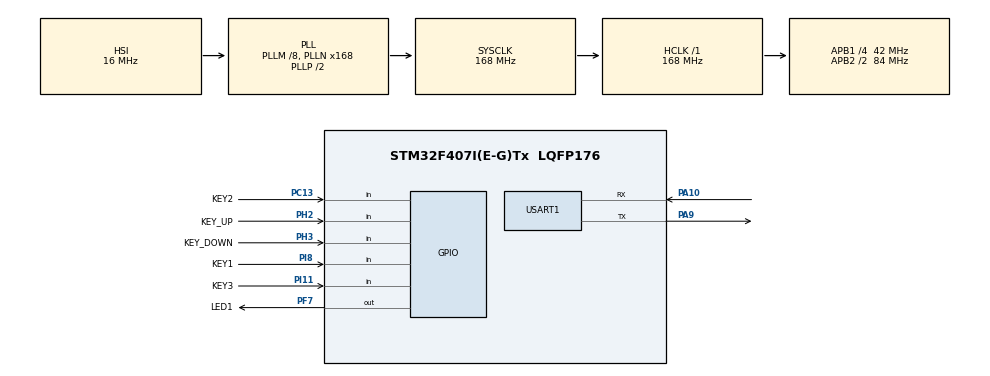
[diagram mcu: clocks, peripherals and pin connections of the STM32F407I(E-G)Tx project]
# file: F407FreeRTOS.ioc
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Dma.Request0=USART1_RX
Dma.Request1=USART1_TX
Dma.USART1_RX.0.Direction=DMA_PERIPH_TO_MEMORY
Dma.USART1_RX.0.FIFOMode=DMA_FIFOMODE_DISABLE
Dma.USART1_RX.0.Instance=DMA2_Stream2
Dma.USART1_RX.0.MemDataAlignment=DMA_MDATAALIGN_BYTE
Dma.USART1_RX.0.MemInc=DMA_MINC_ENABLE
Dma.USART1_RX.0.Mode=DMA_NORMAL
Dma.USART1_RX.0.PeriphDataAlignment=DMA_PDATAALIGN_BYTE
Dma.USART1_RX.0.PeriphInc=DMA_PINC_DISABLE
Dma.USART1_RX.0.Priority=DMA_PRIORITY_LOW
Dma.USART1_TX.1.Direction=DMA_MEMORY_TO_PERIPH
Dma.USART1_TX.1.FIFOMode=DMA_FIFOMODE_DISABLE
Dma.USART1_TX.1.Instance=DMA2_Stream7
Dma.USART1_TX.1.MemDataAlignment=DMA_MDATAALIGN_BYTE
Dma.USART1_TX.1.MemInc=DMA_MINC_ENABLE
Dma.USART1_TX.1.Mode=DMA_NORMAL
Dma.USART1_TX.1.PeriphDataAlignment=DMA_PDATAALIGN_BYTE
Dma.USART1_TX.1.PeriphInc=DMA_PINC_DISABLE
Dma.USART1_TX.1.Priority=DMA_PRIORITY_LOW
FREERTOS.INCLUDE_vTaskDelayUntil=1
FREERTOS.Queues01=CmdQueue,20,uint8_t,0,Dynamic,NULL,NULL
FREERTOS.Tasks01=LED,-1,128,StartTaskLED,Default,NULL,Dynamic,NULL,NULL;MsgPro,-2,128,StartMsgProTask,Default,NULL,Dynamic,NULL,NULL;UserIF,0,128,StartTaskUserIF,Default,NULL,Dynamic,NULL,NULL;Start,1,128,StartTaskStart,Default,NULL,Dynamic,NULL,NULL
FREERTOS.configGENERATE_RUN_TIME_STATS=1
FREERTOS.configUSE_STATS_FORMATTING_FUNCTIONS=1
FREERTOS.configUSE_TIMERS=1
Mcu.Family=STM32F4
Mcu.Name=STM32F407I(E-G)Tx
Mcu.Package=LQFP176
NVIC.DMA2_Stream2_IRQn=true\:1\:0\:true\:false\:true\:false\:false\:true
NVIC.DMA2_Stream7_IRQn=true\:2\:0\:true\:false\:true\:false\:false\:true
NVIC.PriorityGroup=NVIC_PRIORITYGROUP_4
NVIC.TIM1_UP_TIM10_IRQn=true\:0\:0\:false\:false\:true\:false\:false\:true
NVIC.TIM6_DAC_IRQn=true\:5\:0\:false\:false\:true\:true\:true\:true
NVIC.TimeBase=TIM1_UP_TIM10_IRQn
NVIC.TimeBaseIP=TIM1
NVIC.USART1_IRQn=true\:6\:0\:true\:false\:true\:true\:true\:true
PA10.Mode=Asynchronous
PA10.Signal=USART1_RX
PA13.Mode=Serial_Wire
PA13.Signal=SYS_JTMS-SWDIO
PA14.Mode=Serial_Wire
PA14.Signal=SYS_JTCK-SWCLK
PA9.Mode=Asynchronous
PA9.Signal=USART1_TX
PC13-ANTI_TAMP.GPIO_Label=KEY2
PC13-ANTI_TAMP.GPIO_PuPd=GPIO_PULLUP
PC13-ANTI_TAMP.Signal=GPIO_Input
PC14-OSC32_IN.Mode=LSE-External-Oscillator
PC14-OSC32_IN.Signal=RCC_OSC32_IN
PC15-OSC32_OUT.Mode=LSE-External-Oscillator
PC15-OSC32_OUT.Signal=RCC_OSC32_OUT
PF7.GPIO_Label=LED1
PF7.PinState=GPIO_PIN_SET
PF7.Signal=GPIO_Output
PH0-OSC_IN.Mode=HSE-External-Oscillator
PH0-OSC_IN.Signal=RCC_OSC_IN
PH1-OSC_OUT.Mode=HSE-External-Oscillator
PH1-OSC_OUT.Signal=RCC_OSC_OUT
PH2.GPIO_Label=KEY_UP
PH2.GPIO_PuPd=GPIO_PULLUP
PH2.Signal=GPIO_Input
PH3.GPIO_Label=KEY_DOWN
PH3.GPIO_PuPd=GPIO_PULLUP
PH3.Signal=GPIO_Input
PI11.GPIO_Label=KEY3
PI11.GPIO_PuPd=GPIO_PULLUP
PI11.Signal=GPIO_Input
PI8-\ ANTI\ TAMP2.GPIO_Label=KEY1
PI8-\ ANTI\ TAMP2.GPIO_PuPd=GPIO_PULLUP
PI8-\ ANTI\ TAMP2.Signal=GPIO_Input
ProjectManager.HeapSize=0x200
ProjectManager.StackSize=0x400
ProjectManager.TargetToolchain=MDK-ARM V5.27
RCC.48MHZClocksFreq_Value=84000000
RCC.AHBFreq_Value=168000000
RCC.APB1CLKDivider=RCC_HCLK_DIV4
RCC.APB1Freq_Value=42000000
RCC.APB1TimFreq_Value=84000000
RCC.APB2CLKDivider=RCC_HCLK_DIV2
RCC.APB2Freq_Value=84000000
RCC.APB2TimFreq_Value=168000000
RCC.CortexFreq_Value=168000000
RCC.HCLKFreq_Value=168000000
RCC.HSE_VALUE=25000000
RCC.HSI_VALUE=16000000
RCC.PLLM=8
RCC.PLLN=168
RCC.RCC_RTC_Clock_Source=RCC_RTCCLKSOURCE_LSE
RCC.RCC_RTC_Clock_SourceVirtual=RCC_RTCCLKSOURCE_LSE
RCC.SYSCLKFreq_VALUE=168000000
RCC.SYSCLKSource=RCC_SYSCLKSOURCE_PLLCLK
RCC.VCOOutputFreq_Value=336000000
TIM6.Period=99
TIM6.Prescaler=71
USART1.VirtualMode=VM_ASYNC
VP_FREERTOS_VS_CMSIS_V1.Mode=CMSIS_V1
VP_RTC_VS_RTC_Activate.Mode=RTC_Enabled
VP_RTC_VS_RTC_Calendar.Mode=RTC_Calendar
VP_SYS_VS_tim1.Mode=TIM1
VP_TIM6_VS_ClockSourceINT.Mode=Enable_Timer
board=custom

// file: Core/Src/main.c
/* USER CODE BEGIN Header */
/**
  ******************************************************************************
  * @file           : main.c
  * @brief          : Main program body
  ******************************************************************************
  * @attention
  *
  * <h2><center>&copy; Copyright (c) 2021 STMicroelectronics.
  * All rights reserved.</center></h2>
  *
  * This software component is licensed by ST under Ultimate Liberty license
  * SLA0044, the "License"; You may not use this file except in compliance with
  * the License. You may obtain a copy of the License at:
  *                             www.st.com/SLA0044
  *
  ******************************************************************************
  */
/* USER CODE END Header */
#include "main.h"
#include "cmsis_os.h"
#include "dma.h"
#include "rtc.h"
#include "tim.h"
#include "usart.h"
#include "gpio.h"

/* USER CODE BEGIN Includes */
#include "key.h"
/* USER CODE END Includes */

/* USER CODE BEGIN PTD */
uint32_t g_osRuntimeCounter = 0;
extern osMessageQId CmdQueueHandle;
/* USER CODE END PTD */

void SystemClock_Config(void);
void MX_FREERTOS_Init(void);

int main(void)
{

  /* MCU Configuration--------------------------------------------------------*/

  /* Reset of all peripherals, Initializes the Flash interface and the Systick. */
  HAL_Init();

  /* Configure the system clock */
  SystemClock_Config();

  /* Initialize all configured peripherals */
  MX_GPIO_Init();
	MX_DMA_Init();
  MX_USART1_UART_Init();

  MX_TIM6_Init();
  MX_RTC_Init();
  /* USER CODE BEGIN 2 */
  HAL_TIM_Base_Start_IT(&htim6);
  bsp_InitKeyVar();
  /* USER CODE END 2 */

  /* Call init function for freertos objects (in freertos.c) */
  MX_FREERTOS_Init();
  /* Start scheduler */
  osKernelStart();

  /* We should never get here as control is now taken by the scheduler */
  /* Infinite loop */
  while (1)
  {

  }
}

void SystemClock_Config(void)
{
  RCC_OscInitTypeDef RCC_OscInitStruct = {0};
  RCC_ClkInitTypeDef RCC_ClkInitStruct = {0};

  /** Configure the main internal regulator output voltage
  */
  __HAL_RCC_PWR_CLK_ENABLE();
  __HAL_PWR_VOLTAGESCALING_CONFIG(PWR_REGULATOR_VOLTAGE_SCALE1);
  /** Initializes the RCC Oscillators according to the specified parameters
  * in the RCC_OscInitTypeDef structure.
  */
  RCC_OscInitStruct.OscillatorType = RCC_OSCILLATORTYPE_HSI|RCC_OSCILLATORTYPE_LSE;
  RCC_OscInitStruct.LSEState = RCC_LSE_ON;
  RCC_OscInitStruct.HSIState = RCC_HSI_ON;
  RCC_OscInitStruct.HSICalibrationValue = RCC_HSICALIBRATION_DEFAULT;
  RCC_OscInitStruct.PLL.PLLState = RCC_PLL_ON;
  RCC_OscInitStruct.PLL.PLLSource = RCC_PLLSOURCE_HSI;
  RCC_OscInitStruct.PLL.PLLM = 8;
  RCC_OscInitStruct.PLL.PLLN = 168;
  RCC_OscInitStruct.PLL.PLLP = RCC_PLLP_DIV2;
  RCC_OscInitStruct.PLL.PLLQ = 4;
  if (HAL_RCC_OscConfig(&RCC_OscInitStruct) != HAL_OK)
  {
    Error_Handler();
  }
  /** Initializes the CPU, AHB and APB buses clocks
  */
  RCC_ClkInitStruct.ClockType = RCC_CLOCKTYPE_HCLK|RCC_CLOCKTYPE_SYSCLK
                              |RCC_CLOCKTYPE_PCLK1|RCC_CLOCKTYPE_PCLK2;
  RCC_ClkInitStruct.SYSCLKSource = RCC_SYSCLKSOURCE_PLLCLK;
  RCC_ClkInitStruct.AHBCLKDivider = RCC_SYSCLK_DIV1;
  RCC_ClkInitStruct.APB1CLKDivider = RCC_HCLK_DIV4;
  RCC_ClkInitStruct.APB2CLKDivider = RCC_HCLK_DIV2;

  if (HAL_RCC_ClockConfig(&RCC_ClkInitStruct, FLASH_LATENCY_5) != HAL_OK)
  {
    Error_Handler();
  }
}

void HAL_TIM_PeriodElapsedCallback(TIM_HandleTypeDef *htim)
{
  if (htim->Instance == TIM1) {
    HAL_IncTick();
  }
  /* USER CODE BEGIN Callback 1 */
  if (htim->Instance == TIM6)
  {
    g_osRuntimeCounter++;
  }
  /* USER CODE END Callback 1 */
}

void Error_Handler(void)
{
  __disable_irq();
  while (1)
  {
  }
}

/************************ (C) COPYRIGHT STMicroelectronics *****END OF FILE****/

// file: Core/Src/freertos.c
/* USER CODE BEGIN Header */
/**
 ******************************************************************************
 * File Name          : freertos.c
 * Description        : Code for freertos applications
 ******************************************************************************
 * @attention
 *
 * <h2><center>&copy; Copyright (c) 2021 STMicroelectronics.
 * All rights reserved.</center></h2>
 *
 * This software component is licensed by ST under Ultimate Liberty license
 * SLA0044, the "License"; You may not use this file except in compliance with
 * the License. You may obtain a copy of the License at:
 *                             www.st.com/SLA0044
 *
 ******************************************************************************
 */
/* USER CODE END Header */

#include "FreeRTOS.h"
#include "task.h"
#include "main.h"
#include "cmsis_os.h"

/* USER CODE BEGIN Includes */
#include "UART.h"
#include "key.h"
/* USER CODE END Includes */

/* USER CODE BEGIN PD */
#define BIT_0 (1 << 0)
#define BIT_1 (1 << 1)
#define BIT_ALL (BIT_0 | BIT_1)
/* USER CODE END PD */

/* USER CODE BEGIN Variables */
extern uint32_t g_osRuntimeCounter;
EventGroupHandle_t xCreatedEventGroup = NULL;
/* USER CODE END Variables */
osThreadId LEDHandle;
osThreadId MsgProHandle;
osThreadId UserIFHandle;
osThreadId StartHandle;
osMessageQId CmdQueueHandle;
/* USER CODE BEGIN FunctionPrototypes */
static void AppObjCreate(void);
/* USER CODE END FunctionPrototypes */

void StartTaskLED(void const * argument);
void StartMsgProTask(void const * argument);
void StartTaskUserIF(void const * argument);
void StartTaskStart(void const * argument);

void MX_FREERTOS_Init(void); /* (MISRA C 2004 rule 8.1) */

/* GetIdleTaskMemory prototype (linked to static allocation support) */
void vApplicationGetIdleTaskMemory( StaticTask_t **ppxIdleTaskTCBBuffer, StackType_t **ppxIdleTaskStackBuffer, uint32_t *pulIdleTaskStackSize );

/* GetTimerTaskMemory prototype (linked to static allocation support) */
void vApplicationGetTimerTaskMemory( StaticTask_t **ppxTimerTaskTCBBuffer, StackType_t **ppxTimerTaskStackBuffer, uint32_t *pulTimerTaskStackSize );

/* Hook prototypes */
void configureTimerForRunTimeStats(void);
unsigned long getRunTimeCounterValue(void);

/* USER CODE BEGIN 1 */
/* Functions needed when configGENERATE_RUN_TIME_STATS is on */
__weak void configureTimerForRunTimeStats(void)
{
  g_osRuntimeCounter = 0;
}

__weak unsigned long getRunTimeCounterValue(void)
{
  return g_osRuntimeCounter;
}
/* USER CODE END 1 */
/* USER CODE BEGIN GET_IDLE_TASK_MEMORY */
static StaticTask_t xIdleTaskTCBBuffer;
static StackType_t xIdleStack[configMINIMAL_STACK_SIZE];

void vApplicationGetIdleTaskMemory(StaticTask_t **ppxIdleTaskTCBBuffer, StackType_t **ppxIdleTaskStackBuffer, uint32_t *pulIdleTaskStackSize)
{
  *ppxIdleTaskTCBBuffer = &xIdleTaskTCBBuffer;
  *ppxIdleTaskStackBuffer = &xIdleStack[0];
  *pulIdleTaskStackSize = configMINIMAL_STACK_SIZE;
  /* place for user code */
}
/* USER CODE END GET_IDLE_TASK_MEMORY */

/* USER CODE BEGIN GET_TIMER_TASK_MEMORY */
static StaticTask_t xTimerTaskTCBBuffer;
static StackType_t xTimerStack[configTIMER_TASK_STACK_DEPTH];

void vApplicationGetTimerTaskMemory(StaticTask_t **ppxTimerTaskTCBBuffer, StackType_t **ppxTimerTaskStackBuffer, uint32_t *pulTimerTaskStackSize)
{
  *ppxTimerTaskTCBBuffer = &xTimerTaskTCBBuffer;
  *ppxTimerTaskStackBuffer = &xTimerStack[0];
  *pulTimerTaskStackSize = configTIMER_TASK_STACK_DEPTH;
  /* place for user code */
}
/* USER CODE END GET_TIMER_TASK_MEMORY */

void MX_FREERTOS_Init(void) {
  /* USER CODE BEGIN Init */
  AppObjCreate();
  /* USER CODE END Init */

  /* Create the queue(s) */
  /* definition and creation of CmdQueue */
  osMessageQDef(CmdQueue, 20, uint8_t);
  CmdQueueHandle = osMessageCreate(osMessageQ(CmdQueue), NULL);

  /* Create the thread(s) */
  /* definition and creation of LED */
  osThreadDef(LED, StartTaskLED, osPriorityBelowNormal, 0, 128);
  LEDHandle = osThreadCreate(osThread(LED), NULL);

  /* definition and creation of MsgPro */
  osThreadDef(MsgPro, StartMsgProTask, osPriorityLow, 0, 128);
  MsgProHandle = osThreadCreate(osThread(MsgPro), NULL);

  /* definition and creation of UserIF */
  osThreadDef(UserIF, StartTaskUserIF, osPriorityNormal, 0, 128);
  UserIFHandle = osThreadCreate(osThread(UserIF), NULL);

  /* definition and creation of Start */
  osThreadDef(Start, StartTaskStart, osPriorityAboveNormal, 0, 128);
  StartHandle = osThreadCreate(osThread(Start), NULL);

}

void StartTaskLED(void const * argument)
{
  /* USER CODE BEGIN StartTaskLED */
  RTCDateTime mRTCDateTime;
  /*   uint8_t uResult = pdFALSE;
    uint8_t uQueueMessage = 0; */
  // TickType_t xLastWakeTime;
  // const TickType_t xFrequency = 200;
  /* 获取当前的系统时间*/
  // xLastWakeTime = xTaskGetTickCount();
  /* Infinite loop */
  for (;;)
  {
    /* 进入临界区*/
    // taskENTER_CRITICAL();
    // vTaskSuspendAll();
    // printf("任务 vTaskLED 正在运行\r\n");
    /* 退出临界区*/
    // taskEXIT_CRITICAL();
    /*    uResult = xQueueReceive(CmdQueueHandle, (void *)&uQueueMessage, 1000);
       if (uResult == pdTRUE)
       {
         printf("收到%d个消息\n", uQueueMessage);
       } */
    mRTCDateTime = GetRTCDateTime();
    printf("%d-%d-%d,%d:%d:%d",
           mRTCDateTime.RTCDate.Year + 2000,
           mRTCDateTime.RTCDate.Month,
           mRTCDateTime.RTCDate.Date,
           mRTCDateTime.RTCTime.Hours,
           mRTCDateTime.RTCTime.Minutes,
           mRTCDateTime.RTCTime.Seconds);
    osDelay(1000);
    /*     HAL_GPIO_TogglePin(LED1_GPIO_Port, LED1_Pin);
        osDelay(200); */
    /* vTaskDelayUntil 是绝对延迟， vTaskDelay 是相对延迟。*/
    // vTaskDelayUntil(&xLastWakeTime, xFrequency);
  }
  /* USER CODE END StartTaskLED */
}

void StartMsgProTask(void const * argument)
{
  /* USER CODE BEGIN StartMsgProTask */
  // EventBits_t uxBits;
  // const TickType_t xTicksToWait = 100 / portTICK_PERIOD_MS; /* 最大延迟100ms */
  /*   uint8_t var[2] = {0, 255}; */
  /* Infinite loop */
  for (;;)
  {
    /*     vcan_sendware((uint8_t *)var, sizeof(var)); */
    /* 进入临界区*/
    // taskENTER_CRITICAL();
    // vTaskSuspendAll(); /* 开启调度锁*/
    // printf("任务 vTaskMsgPro 正在运行\r\n");
    /* 退出临界区*/
    // taskEXIT_CRITICAL();
    // if (!xTaskResumeAll()) /* 关闭调度锁，如果需要任务切换，此函数返回 pdTRUE ，否则返回 pdFALSE */
    // taskYIELD();
    /* 等K2按键按下设置bit0和K3按键按下设置bit1 */
    if (recv_end_flag == 1) //接收完成标志
    {
      // HAL_UART_Transmit_DMA(&huart1, rx_buffer, rx_len);
      xQueueSend(CmdQueueHandle, (void *)&rx_len, 10);
      vRtcCmd(rx_buffer);
      memset(rx_buffer, 0, rx_len);
      rx_len = 0;                                            //清除计数
      recv_end_flag = 0;                                     //清除接收结束标志位
      HAL_UART_Receive_DMA(&huart1, rx_buffer, BUFFER_SIZE); //重新打开DMA接收
    }
    osDelay(20);
    /*     var[0]++;
    var[1]--; */
  }
  /* USER CODE END StartMsgProTask */
}

void StartTaskUserIF(void const * argument)
{
  /* USER CODE BEGIN StartTaskUserIF */
  uint8_t ucKeyCode;
  uint8_t pcWriteBuffer[150]; //该数组过大会导致程序卡死
  EventBits_t uxBits;
  /* Infinite loop */
  for (;;)
  {
    ucKeyCode = bsp_GetKey();

    if (ucKeyCode != KEY_NONE)
    {
      switch (ucKeyCode)
      {
      // K1按下，打印任务执行情况
      case KEY_DOWN_K1:
        printf("=================================================\r\n");
        printf("任务名       任务状态 优先级  剩余栈 任务序号\r\n");
        vTaskList((char *)&pcWriteBuffer);
        printf("%s\r\n", pcWriteBuffer);
        printf("任务名       运行计数         使用率\r\n");
        vTaskGetRunTimeStats((char *)&pcWriteBuffer);
        printf("%s\r\n", pcWriteBuffer);
        break;
        // K2按下，删除vTaskLED任务
      case KEY_DOWN_K2:
        uxBits = xEventGroupSetBits(xCreatedEventGroup, BIT_0);
        printf("K2键按下%d\r\n", uxBits);
        break;
        /* K2 键按下，直接发送事件标志给任务 vTaskMsgPro ，设置 bit0 */

        /*         if (LEDHandle != NULL)
        {
          printf("K2 按下，删除任务 vTaskLED\r\n");
          vTaskDelete(LEDHandle);
          LEDHandle = NULL;
        }
        else
        {
          printf("vTaskLED 不存在\r\n");
        }

        break;*/

        // K3按下，重新创建vTaskLED任务
      case KEY_DOWN_K3:
        /* K3键按下，直接发送事件标志给任务vTaskMsgPro，设置bit1 */
        uxBits = xEventGroupSetBits(xCreatedEventGroup, BIT_1);
        printf("K3键按下%d\r\n", uxBits);
        break;
        /*         if (LEDHandle == NULL)
        {
          printf("K3 按下，重新创建任务 vTaskLED\r\n");
          osThreadDef(LED, StartTaskLED, osPriorityBelowNormal, 0, 128);
          LEDHandle = osThreadCreate(osThread(LED), NULL);
        }
        else
        {
          printf("vTaskLED 已存在\r\n");
        }
        break;
 */
        /* 摇杆UP键按下，挂起任务vTaskLED */
      case JOY_DOWN_U:
        if (LEDHandle == NULL)
        {
          printf("无任务 vTaskLED\r\n");
        }
        else
        {
          printf("UP 按下，挂起任务 vTaskLED\r\n");
          vTaskSuspend(LEDHandle);
        }
        break;

      /* 摇杆DOWN键按下，恢复任务vTaskLED */
      case JOY_DOWN_D:
        if (LEDHandle == NULL)
        {
          printf("无任务 vTaskLED\r\n");
        }
        else
        {
          printf("DOWN 按下，恢复任务 vTaskLED\r\n");
          vTaskResume(LEDHandle);
        }
        break;

      /* 其他的键值不处理 */
      default:
        break;
      }
    }
    osDelay(20);
  }
  /* USER CODE END StartTaskUserIF */
}

void StartTaskStart(void const * argument)
{
  /* USER CODE BEGIN StartTaskStart */
  /* Infinite loop */
  for (;;)
  {
    bsp_KeyScan();
    osDelay(10);
  }
  /* USER CODE END StartTaskStart */
}

/* USER CODE BEGIN Application */
void vApplicationStackOverflowHook(TaskHandle_t xTask, signed char *pcTaskName)
{
  printf("\n任务： ：%s 发现栈溢出\n", pcTaskName);
}
/**
 * @description: 创建任务通信机制
 * @param {*}
 * @return {*}
 */
static void AppObjCreate(void)
{ /* 创建事件标志组*/
  xCreatedEventGroup = xEventGroupCreate();
  if (xCreatedEventGroup == NULL)
  {
    /* 没有创建 成功，用户可以在这里加入创建失败的处理机制*/
    printf("事件标志组创建失败\n");
  }
  else
  {
    printf("事件标志组创建成功\n");
  }
}
/* USER CODE END Application */

/************************ (C) COPYRIGHT STMicroelectronics *****END OF FILE****/
